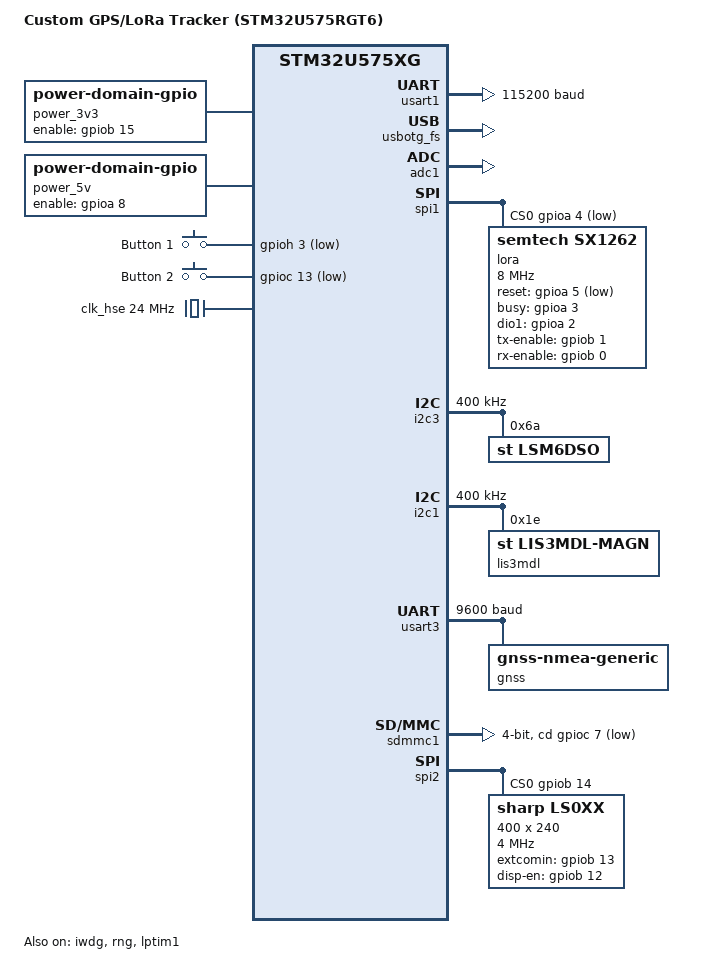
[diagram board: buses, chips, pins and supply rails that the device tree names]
/*
 * Custom GPS / LoRa Tracker Board
 * MCU: STM32U575RGT6 (Cortex-M33, 1 MB flash, 786 KB SRAM)
 *
 * Power domains
 *   MCU   — always on: console USART1, USB, buttons, ADC VBAT
 *   3V3   — PB15 enable: LoRa, accel, mag, GPS, SD card
 *   5V    — PA8  enable: Sharp memory LCD
 *
 * SPDX-License-Identifier: Apache-2.0
 */

/dts-v1/;
#include <st/u5/stm32u575Xg.dtsi>
#include "tracker-pinctrl.dtsi"
#include <zephyr/dt-bindings/gpio/gpio.h>
#include <zephyr/dt-bindings/input/input-event-codes.h>
#include <zephyr/dt-bindings/i2c/i2c.h>

/ {
	model = "Custom GPS/LoRa Tracker (STM32U575RGT6)";
	compatible = "custom,tracker";

	#address-cells = <1>;
	#size-cells = <1>;

	chosen {
		zephyr,console = &usart1;
		zephyr,shell-uart = &usart1;
		zephyr,sram = &sram0;
		zephyr,flash = &flash0;
		zephyr,code-partition = &slot0_partition;
		zephyr,display = &ls0xx;
	};

	aliases {
		sw0 = &button1;
		sw1 = &button2;
		watchdog0 = &iwdg;
		lora0 = &lora;
		accel0 = &lsm6dso;
		mag0 = &lis3mdl;
	};

	/* ========================
	 * GPIO-controlled power domains
	 * ======================== */

	power_3v3: power-3v3 {
		compatible = "power-domain-gpio";
		enable-gpios = <&gpiob 15 GPIO_ACTIVE_HIGH>;
		startup-delay-us = <2000>;
		#power-domain-cells = <0>;
	};

	power_5v: power-5v {
		compatible = "power-domain-gpio";
		enable-gpios = <&gpioa 8 GPIO_ACTIVE_HIGH>;
		startup-delay-us = <5000>;
		#power-domain-cells = <0>;
	};

	/* ========================
	 * Buttons (MCU domain)
	 * ======================== */

	gpio_keys {
		compatible = "gpio-keys";

		button1: button1 {
			label = "Button 1";
			gpios = <&gpioh 3 (GPIO_ACTIVE_LOW | GPIO_PULL_UP)>;
			zephyr,code = <INPUT_KEY_0>;
		};

		button2: button2 {
			label = "Button 2";
			gpios = <&gpioc 13 (GPIO_ACTIVE_LOW | GPIO_PULL_UP)>;
			zephyr,code = <INPUT_KEY_1>;
		};
	};
};

/* ========================================================
 * Clock tree — 24 MHz HSE crystal → PLL1 → 160 MHz SYSCLK
 * ======================================================== */

&clk_hse {
	clock-frequency = <DT_FREQ_M(24)>;
	status = "okay";
};

&clk_hsi48 {
	status = "okay";
};

&clk_lsi {
	status = "okay";
};

&pll1 {
	div-m = <3>;
	mul-n = <40>;
	div-q = <2>;
	div-r = <2>;
	clocks = <&clk_hse>;
	status = "okay";
};

&rcc {
	clocks = <&pll1>;
	clock-frequency = <DT_FREQ_M(160)>;
	ahb-prescaler = <1>;
	apb1-prescaler = <1>;
	apb2-prescaler = <1>;
	apb3-prescaler = <1>;
};

/* ========================================================
 * Flash partitions — 1 MB
 * ======================================================== */

&flash0 {
	partitions {
		compatible = "fixed-partitions";
		#address-cells = <1>;
		#size-cells = <1>;

		boot_partition: partition@0 {
			label = "mcuboot";
			reg = <0x00000000 DT_SIZE_K(64)>;
		};
		slot0_partition: partition@10000 {
			label = "image-0";
			reg = <0x00010000 DT_SIZE_K(448)>;
		};
		slot1_partition: partition@80000 {
			label = "image-1";
			reg = <0x00080000 DT_SIZE_K(448)>;
		};
		storage_partition: partition@f0000 {
			label = "storage";
			reg = <0x000f0000 DT_SIZE_K(64)>;
		};
	};
};

/* ========================================================
 * MCU Domain peripherals (always on)
 * ======================================================== */

/* USART1 — console / spare UART (PA9 TX, PA10 RX) */
&usart1 {
	pinctrl-0 = <&console_tx_active &console_rx_active>;
	pinctrl-1 = <&console_tx_sleep &console_rx_sleep>;
	pinctrl-names = "default", "sleep";
	current-speed = <115200>;
	status = "okay";
};

/* USB OTG FS (PA11 D-, PA12 D+) */
zephyr_udc0: &usbotg_fs {
	pinctrl-0 = <&usb_dm_active &usb_dp_active>;
	pinctrl-names = "default";
	status = "okay";
};

/* ADC1 — VBAT measurement (PA0 / IN5) */
&adc1 {
	pinctrl-0 = <&vbat_measure_active>;
	pinctrl-names = "default";
	st,adc-clock-source = "ASYNC";
	st,adc-prescaler = <4>;
	status = "okay";
};

/* ========================================================
 * 3V3 Domain peripherals (PB15 = 3V3_EN)
 * ======================================================== */

/* SPI1 — LoRa E22-900M22S (SX1262) */
&spi1 {
	pinctrl-0 = <&lora_sck_active &lora_miso_active &lora_mosi_active>;
	pinctrl-1 = <&lora_sck_sleep &lora_miso_sleep &lora_mosi_sleep>;
	pinctrl-names = "default", "sleep";
	cs-gpios = <&gpioa 4 GPIO_ACTIVE_LOW>;
	power-domains = <&power_3v3>;
	status = "okay";

	lora: sx1262@0 {
		compatible = "semtech,sx1262";
		reg = <0>;
		spi-max-frequency = <DT_FREQ_M(8)>;
		reset-gpios = <&gpioa 5 GPIO_ACTIVE_LOW>;
		busy-gpios  = <&gpioa 3 GPIO_ACTIVE_HIGH>;
		dio1-gpios  = <&gpioa 2 GPIO_ACTIVE_HIGH>;
		tx-enable-gpios = <&gpiob 1 GPIO_ACTIVE_HIGH>;
		rx-enable-gpios = <&gpiob 0 GPIO_ACTIVE_HIGH>;
		power-domains = <&power_3v3>;
	};
};

/* I2C3 — LSM6DSOTR accelerometer / gyroscope */
&i2c3 {
	pinctrl-0 = <&acc_scl_active &acc_sda_active>;
	pinctrl-1 = <&acc_scl_sleep &acc_sda_sleep>;
	pinctrl-names = "default", "sleep";
	clock-frequency = <I2C_BITRATE_FAST>;
	power-domains = <&power_3v3>;
	status = "okay";

	lsm6dso: lsm6dso@6a {
		compatible = "st,lsm6dso";
		reg = <0x6a>;
		power-domains = <&power_3v3>;
	};
};

/* I2C1 — LIS3MDLTR magnetometer */
&i2c1 {
	pinctrl-0 = <&mag_scl_active &mag_sda_active>;
	pinctrl-1 = <&mag_scl_sleep &mag_sda_sleep>;
	pinctrl-names = "default", "sleep";
	clock-frequency = <I2C_BITRATE_FAST>;
	power-domains = <&power_3v3>;
	status = "okay";

	lis3mdl: lis3mdl@1e {
		compatible = "st,lis3mdl-magn";
		reg = <0x1e>;
		power-domains = <&power_3v3>;
	};
};

/* USART3 — GPS MAX-M10S-00B (PC4 TX, PC5 RX)
 * No power-domains here: UART inits at PRE_KERNEL_1, before the
 * GPIO power-domain driver (POST_KERNEL).  The application must
 * ensure the 3V3 rail is on before talking to the GPS. */
&usart3 {
	pinctrl-0 = <&gps_tx_active &gps_rx_active>;
	pinctrl-1 = <&gps_tx_sleep &gps_rx_sleep>;
	pinctrl-names = "default", "sleep";
	current-speed = <9600>;
	status = "okay";

	gnss: gnss-nmea-generic {
		compatible = "gnss-nmea-generic";
	};
};

/* SDMMC1 — SD card (4-bit, PC7 card-detect) */
&sdmmc1 {
	pinctrl-0 = <&sd_d0_active &sd_d1_active
		     &sd_d2_active &sd_d3_active
		     &sd_ck_active &sd_cmd_active>;
	pinctrl-1 = <&sd_d0_sleep &sd_d1_sleep
		     &sd_d2_sleep &sd_d3_sleep
		     &sd_ck_sleep &sd_cmd_sleep>;
	pinctrl-names = "default", "sleep";
	cd-gpios = <&gpioc 7 GPIO_ACTIVE_LOW>;
	bus-width = <4>;
	disk-name = "SD";
	power-domains = <&power_3v3>;
	status = "okay";
};

/* ========================================================
 * 5V Domain peripherals (PA8 = 5V_EN)
 * ======================================================== */

/* SPI2 — Sharp LS027B7DH01A memory LCD (write-only: SCK + MOSI) */
&spi2 {
	pinctrl-0 = <&lcd_sclk_active &lcd_si_active>;
	pinctrl-1 = <&lcd_sclk_sleep &lcd_si_sleep>;
	pinctrl-names = "default", "sleep";
	cs-gpios = <&gpiob 14 GPIO_ACTIVE_HIGH>;
	power-domains = <&power_5v>;
	status = "okay";

	ls0xx: ls0xx@0 {
		compatible = "sharp,ls0xx";
		reg = <0>;
		spi-max-frequency = <4000000>;
		width = <400>;
		height = <240>;
		extcomin-gpios  = <&gpiob 13 GPIO_ACTIVE_HIGH>;
		extcomin-frequency = <60>;
		disp-en-gpios   = <&gpiob 12 GPIO_ACTIVE_HIGH>;
		power-domains = <&power_5v>;
	};
};

/* ========================================================
 * System peripherals
 * ======================================================== */

&iwdg {
	status = "okay";
};

&rng {
	status = "okay";
};

&gpdma1 {
	status = "okay";
};

stm32_lp_tick_source: &lptim1 {
	clocks = <&rcc STM32_CLOCK(APB3, 11)>,
		 <&rcc STM32_SRC_LSI LPTIM1_SEL(1)>;
	status = "okay";
};
